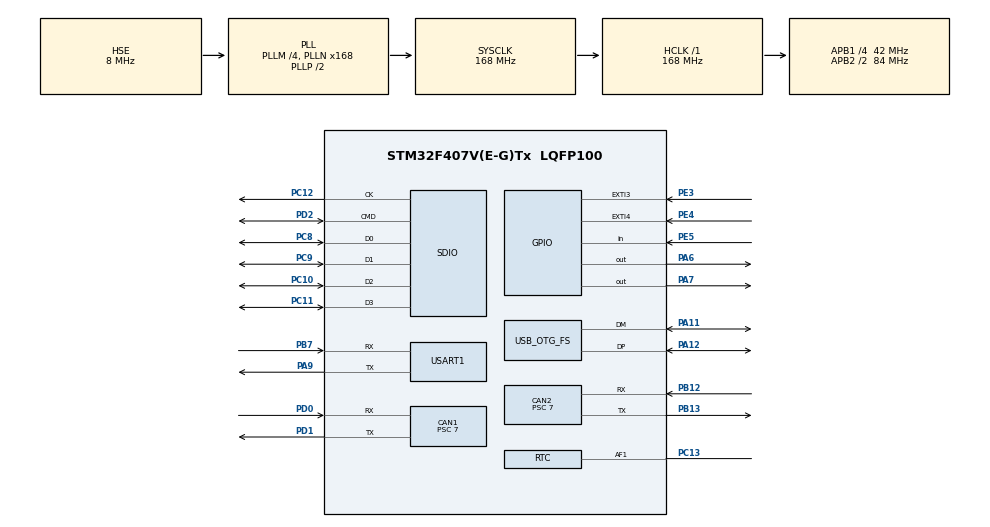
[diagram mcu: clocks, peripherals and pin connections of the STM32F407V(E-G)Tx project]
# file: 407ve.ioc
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CAN1.BS1=CAN_BS1_5TQ
CAN1.BS2=CAN_BS2_6TQ
CAN1.CalculateTimeQuantum=166.66666666666669
CAN1.Mode=CAN_MODE_NORMAL
CAN1.NART=ENABLE
CAN1.Prescaler=7
CAN2.BS1=CAN_BS1_5TQ
CAN2.BS2=CAN_BS2_6TQ
CAN2.CalculateTimeQuantum=166.66666666666669
CAN2.Prescaler=7
Dma.Request0=USART1_RX
Dma.Request1=USART1_TX
Dma.Request2=SDIO_RX
Dma.Request3=SDIO_TX
Dma.SDIO_RX.2.Direction=DMA_PERIPH_TO_MEMORY
Dma.SDIO_RX.2.FIFOMode=DMA_FIFOMODE_ENABLE
Dma.SDIO_RX.2.FIFOThreshold=DMA_FIFO_THRESHOLD_FULL
Dma.SDIO_RX.2.Instance=DMA2_Stream3
Dma.SDIO_RX.2.MemBurst=DMA_MBURST_INC4
Dma.SDIO_RX.2.MemDataAlignment=DMA_MDATAALIGN_WORD
Dma.SDIO_RX.2.MemInc=DMA_MINC_ENABLE
Dma.SDIO_RX.2.Mode=DMA_PFCTRL
Dma.SDIO_RX.2.PeriphBurst=DMA_PBURST_INC4
Dma.SDIO_RX.2.PeriphDataAlignment=DMA_PDATAALIGN_WORD
Dma.SDIO_RX.2.PeriphInc=DMA_PINC_DISABLE
Dma.SDIO_RX.2.Priority=DMA_PRIORITY_HIGH
Dma.SDIO_TX.3.Direction=DMA_MEMORY_TO_PERIPH
Dma.SDIO_TX.3.FIFOMode=DMA_FIFOMODE_ENABLE
Dma.SDIO_TX.3.FIFOThreshold=DMA_FIFO_THRESHOLD_FULL
Dma.SDIO_TX.3.Instance=DMA2_Stream6
Dma.SDIO_TX.3.MemBurst=DMA_MBURST_INC4
Dma.SDIO_TX.3.MemDataAlignment=DMA_MDATAALIGN_WORD
Dma.SDIO_TX.3.MemInc=DMA_MINC_ENABLE
Dma.SDIO_TX.3.Mode=DMA_PFCTRL
Dma.SDIO_TX.3.PeriphBurst=DMA_PBURST_INC4
Dma.SDIO_TX.3.PeriphDataAlignment=DMA_PDATAALIGN_WORD
Dma.SDIO_TX.3.PeriphInc=DMA_PINC_DISABLE
Dma.SDIO_TX.3.Priority=DMA_PRIORITY_HIGH
Dma.USART1_RX.0.Direction=DMA_PERIPH_TO_MEMORY
Dma.USART1_RX.0.FIFOMode=DMA_FIFOMODE_DISABLE
Dma.USART1_RX.0.Instance=DMA2_Stream2
Dma.USART1_RX.0.MemDataAlignment=DMA_MDATAALIGN_BYTE
Dma.USART1_RX.0.MemInc=DMA_MINC_ENABLE
Dma.USART1_RX.0.Mode=DMA_NORMAL
Dma.USART1_RX.0.PeriphDataAlignment=DMA_PDATAALIGN_BYTE
Dma.USART1_RX.0.PeriphInc=DMA_PINC_DISABLE
Dma.USART1_RX.0.Priority=DMA_PRIORITY_LOW
Dma.USART1_TX.1.Direction=DMA_MEMORY_TO_PERIPH
Dma.USART1_TX.1.FIFOMode=DMA_FIFOMODE_ENABLE
Dma.USART1_TX.1.FIFOThreshold=DMA_FIFO_THRESHOLD_3QUARTERSFULL
Dma.USART1_TX.1.Instance=DMA2_Stream7
Dma.USART1_TX.1.MemBurst=DMA_MBURST_SINGLE
Dma.USART1_TX.1.MemDataAlignment=DMA_MDATAALIGN_BYTE
Dma.USART1_TX.1.MemInc=DMA_MINC_ENABLE
Dma.USART1_TX.1.Mode=DMA_NORMAL
Dma.USART1_TX.1.PeriphBurst=DMA_PBURST_SINGLE
Dma.USART1_TX.1.PeriphDataAlignment=DMA_PDATAALIGN_BYTE
Dma.USART1_TX.1.PeriphInc=DMA_PINC_DISABLE
Dma.USART1_TX.1.Priority=DMA_PRIORITY_LOW
FATFS.BSP.number=1
FATFS.USE_DMA_CODE_SD=1
FATFS._CODE_PAGE=936
FATFS._FS_RPATH=2
FATFS._FS_TINY=1
FATFS._MAX_SS=4096
FATFS._MULTI_PARTITION=0
FATFS._USE_CHMOD=1
FATFS._USE_EXPAND=1
FATFS._USE_FIND=1
FATFS._USE_FORWARD=1
FATFS._USE_LABEL=1
FATFS._USE_LFN=2
FATFS._USE_TRIM=1
FATFS0.BSP.STBoard=false
FATFS0.BSP.api=Unknown
FATFS0.BSP.i2caddr=0
FATFS0.BSP.instance=PE5
FATFS0.BSP.ip=GPIO
FATFS0.BSP.mode=Input
FATFS0.BSP.name=Detect_SDIO
FATFS0.BSP.solution=PE5
Mcu.Family=STM32F4
Mcu.Name=STM32F407V(E-G)Tx
Mcu.Package=LQFP100
NVIC.CAN1_RX0_IRQn=true\:0\:0\:false\:false\:true\:true
NVIC.CAN1_RX1_IRQn=true\:0\:0\:false\:false\:true\:true
NVIC.CAN1_SCE_IRQn=true\:0\:0\:false\:false\:true\:true
NVIC.CAN1_TX_IRQn=true\:0\:0\:false\:false\:true\:true
NVIC.CAN2_RX0_IRQn=true\:0\:0\:false\:false\:true\:true
NVIC.CAN2_RX1_IRQn=true\:0\:0\:false\:false\:true\:true
NVIC.CAN2_SCE_IRQn=true\:0\:0\:false\:false\:true\:true
NVIC.CAN2_TX_IRQn=true\:0\:0\:false\:false\:true\:true
NVIC.DMA2_Stream2_IRQn=true\:8\:0\:true\:false\:true\:false
NVIC.DMA2_Stream3_IRQn=true\:6\:0\:true\:false\:true\:false
NVIC.DMA2_Stream6_IRQn=true\:6\:0\:true\:false\:true\:false
NVIC.DMA2_Stream7_IRQn=true\:8\:0\:true\:false\:true\:false
NVIC.EXTI3_IRQn=true\:5\:0\:true\:false\:true\:true
NVIC.EXTI4_IRQn=true\:5\:0\:true\:false\:true\:true
NVIC.OTG_FS_IRQn=true\:7\:0\:true\:false\:true\:true
NVIC.PriorityGroup=NVIC_PRIORITYGROUP_4
NVIC.RTC_Alarm_IRQn=true\:0\:0\:false\:false\:true\:true
NVIC.SDIO_IRQn=true\:5\:0\:true\:false\:true\:true
NVIC.USART1_IRQn=true\:0\:0\:false\:false\:true\:true
PA0-WKUP.Mode=SYS_WakeUp0
PA0-WKUP.Signal=SYS_WKUP
PA11.Mode=Device_Only
PA11.Signal=USB_OTG_FS_DM
PA12.Mode=Device_Only
PA12.Signal=USB_OTG_FS_DP
PA13.Mode=Trace_Asynchronous_SW
PA13.Signal=SYS_JTMS-SWDIO
PA14.Mode=Trace_Asynchronous_SW
PA14.Signal=SYS_JTCK-SWCLK
PA6.PinState=GPIO_PIN_SET
PA6.Signal=GPIO_Output
PA7.GPIO_ModeDefaultOutputPP=GPIO_MODE_OUTPUT_OD
PA7.PinState=GPIO_PIN_SET
PA7.Signal=GPIO_Output
PA9.Mode=Asynchronous
PA9.Signal=USART1_TX
PB12.Mode=Slave
PB12.Signal=CAN2_RX
PB13.Mode=Slave
PB13.Signal=CAN2_TX
PB3.Mode=Trace_Asynchronous_SW
PB3.Signal=SYS_JTDO-SWO
PB7.Mode=Asynchronous
PB7.Signal=USART1_RX
PC10.Mode=SD_4_bits_Wide_bus
PC10.Signal=SDIO_D2
PC11.Mode=SD_4_bits_Wide_bus
PC11.Signal=SDIO_D3
PC12.Mode=SD_4_bits_Wide_bus
PC12.Signal=SDIO_CK
PC13-ANTI_TAMP.Mode=Calibration_1Hz
PC13-ANTI_TAMP.Signal=RTC_AF1
PC14-OSC32_IN.Mode=LSE-External-Oscillator
PC14-OSC32_IN.Signal=RCC_OSC32_IN
PC15-OSC32_OUT.Mode=LSE-External-Oscillator
PC15-OSC32_OUT.Signal=RCC_OSC32_OUT
PC8.Mode=SD_4_bits_Wide_bus
PC8.Signal=SDIO_D0
PC9.Mode=SD_4_bits_Wide_bus
PC9.Signal=SDIO_D1
PD0.Mode=Master
PD0.Signal=CAN1_RX
PD1.Mode=Master
PD1.Signal=CAN1_TX
PD2.Mode=SD_4_bits_Wide_bus
PD2.Signal=SDIO_CMD
PE3.GPIO_ModeDefaultEXTI=GPIO_MODE_IT_FALLING
PE3.GPIO_PuPd=GPIO_PULLUP
PE3.Signal=GPXTI3
PE4.GPIO_ModeDefaultEXTI=GPIO_MODE_IT_FALLING
PE4.GPIO_PuPd=GPIO_PULLUP
PE4.Signal=GPXTI4
PE5.GPIO_PuPd=GPIO_PULLDOWN
PE5.Signal=GPIO_Input
PH0-OSC_IN.Mode=HSE-External-Oscillator
PH0-OSC_IN.Signal=RCC_OSC_IN
PH1-OSC_OUT.Mode=HSE-External-Oscillator
PH1-OSC_OUT.Signal=RCC_OSC_OUT
ProjectManager.HeapSize=0x2000
ProjectManager.StackSize=0x2000
ProjectManager.TargetToolchain=MDK-ARM V5
RCC.48MHZClocksFreq_Value=48000000
RCC.AHBFreq_Value=168000000
RCC.APB1CLKDivider=RCC_HCLK_DIV4
RCC.APB1Freq_Value=42000000
RCC.APB1TimFreq_Value=84000000
RCC.APB2CLKDivider=RCC_HCLK_DIV2
RCC.APB2Freq_Value=84000000
RCC.APB2TimFreq_Value=168000000
RCC.CortexFreq_Value=168000000
RCC.HCLKFreq_Value=168000000
RCC.HSE_VALUE=8000000
RCC.HSI_VALUE=16000000
RCC.PLLM=4
RCC.PLLN=168
RCC.PLLQ=7
RCC.RCC_RTC_Clock_Source=RCC_RTCCLKSOURCE_LSE
RCC.RCC_RTC_Clock_SourceVirtual=RCC_RTCCLKSOURCE_LSE
RCC.SYSCLKFreq_VALUE=168000000
RCC.SYSCLKSource=RCC_SYSCLKSOURCE_PLLCLK
RCC.VCOOutputFreq_Value=336000000
RTC.AlarmMaskDateWeekDay_B=RTC_ALARMMASK_DATEWEEKDAY
RTC.AlarmMaskHours_B=RTC_ALARMMASK_HOURS
RTC.AlarmMaskMinutes_B=RTC_ALARMMASK_MINUTES
RTC.Alarm_B=RTC_ALARM_B
RTC.Date=27
RTC.Month=RTC_MONTH_FEBRUARY
RTC.Seconds_B=3
RTC.StoreOperation=RTC_STOREOPERATION_SET
RTC.Year=19
SDIO.ClockBypass=SDIO_CLOCK_BYPASS_DISABLE
SDIO.HardwareFlowControl=SDIO_HARDWARE_FLOW_CONTROL_DISABLE
USART1.VirtualMode=VM_ASYNC
USB_DEVICE.CLASS_NAME_FS=MSC
USB_DEVICE.VirtualMode-MSC_FS=Msc
USB_DEVICE.VirtualModeFS=Msc_FS
USB_OTG_FS.VirtualMode=Device_Only
VP_FATFS_VS_SDIO.Mode=SDIO
VP_RTC_VS_RTC_Activate.Mode=RTC_Enabled
VP_RTC_VS_RTC_Alarm_B_Intern.Mode=Alarm B
VP_RTC_VS_RTC_Calendar.Mode=RTC_Calendar
VP_USB_DEVICE_VS_USB_DEVICE_MSC_FS.Mode=MSC_FS
board=custom

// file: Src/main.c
/* USER CODE BEGIN Header */
/**
  ******************************************************************************
  * @file           : main.c
  * @brief          : Main program body
  ******************************************************************************
  ** This notice applies to any and all portions of this file
  * that are not between comment pairs USER CODE BEGIN and
  * USER CODE END. Other portions of this file, whether
  * inserted by the user or by software development tools
  * are owned by their respective copyright owners.
  *
  * COPYRIGHT(c) 2019 STMicroelectronics
  *
  * Redistribution and use in source and binary forms, with or without modification,
  * are permitted provided that the following conditions are met:
  *   1. Redistributions of source code must retain the above copyright notice,
  *      this list of conditions and the following disclaimer.
  *   2. Redistributions in binary form must reproduce the above copyright notice,
  *      this list of conditions and the following disclaimer in the documentation
  *      and/or other materials provided with the distribution.
  *   3. Neither the name of STMicroelectronics nor the names of its contributors
  *      may be used to endorse or promote products derived from this software
  *      without specific prior written permission.
  *
  * THIS SOFTWARE IS PROVIDED BY THE COPYRIGHT HOLDERS AND CONTRIBUTORS "AS IS"
  * AND ANY EXPRESS OR IMPLIED WARRANTIES, INCLUDING, BUT NOT LIMITED TO, THE
  * IMPLIED WARRANTIES OF MERCHANTABILITY AND FITNESS FOR A PARTICULAR PURPOSE ARE
  * DISCLAIMED. IN NO EVENT SHALL THE COPYRIGHT HOLDER OR CONTRIBUTORS BE LIABLE
  * FOR ANY DIRECT, INDIRECT, INCIDENTAL, SPECIAL, EXEMPLARY, OR CONSEQUENTIAL
  * DAMAGES (INCLUDING, BUT NOT LIMITED TO, PROCUREMENT OF SUBSTITUTE GOODS OR
  * SERVICES; LOSS OF USE, DATA, OR PROFITS; OR BUSINESS INTERRUPTION) HOWEVER
  * CAUSED AND ON ANY THEORY OF LIABILITY, WHETHER IN CONTRACT, STRICT LIABILITY,
  * OR TORT (INCLUDING NEGLIGENCE OR OTHERWISE) ARISING IN ANY WAY OUT OF THE USE
  * OF THIS SOFTWARE, EVEN IF ADVISED OF THE POSSIBILITY OF SUCH DAMAGE.
  *
  ******************************************************************************
  */
/* USER CODE END Header */

#include "main.h"
#include "can.h"
#include "dma.h"
#include "fatfs.h"
#include "rtc.h"
#include "sdio.h"
#include "usart.h"
#include "usb_device.h"
#include "gpio.h"

/* USER CODE BEGIN Includes */
#include "string.h"
#include "stdio.h"
//#include "usbd_cdc_if.h"
#include "led.h"
// #include "usbd_hid.h"
/* USER CODE END Includes */

/* USER CODE BEGIN PD */
#define SPI_FLASH_CS_PORT GPIOB
#define SPI_FLASH_CS_PIN GPIO_PIN_0
#define BUFFER_SIZE 2
/* USER CODE END PD */

/* USER CODE BEGIN PV */
static  char str[4096];
volatile uint8_t rx_len = 0;                          //接收数据长度
volatile uint8_t recv_end_flag = 0;                   //接收完成标记位
uint8_t rx_buffer[BUFFER_SIZE] = {0}; //接收数据缓存
int8_t usart1_send_complete_flag = 0;
__align(4) uint8_t rxbuf[100] = {0}, txbuf[100] = {0};

/* USER CODE END PV */

void SystemClock_Config(void);
/* USER CODE BEGIN PFP */
void UserTestEntry(void);
void UserTestEntry1(void);
void UserTestEntry2(void);
void UserTestEntry3(void);
/* USER CODE END PFP */

/* USER CODE BEGIN 0 */
//void  usart_transmit_comp_callback(UART_HandleTypeDef *huart){

//usart1_send_complete_flag=0;
//  return;
//}

void DMA_Usart_Send(uint8_t *buf, uint8_t len) //串口发送封装
{
//    HAL_UART_Transmit_DMA(&huart1, buf, len);
//    while (huart1.gState == HAL_UART_STATE_BUSY_TX);
HAL_UART_Transmit(&huart1, buf, len,1000);
}

void HAL_UART_RxCpltCallback(UART_HandleTypeDef *UartHandle)
{

    HAL_UART_Transmit_DMA(&huart1, rx_buffer, sizeof(rx_buffer) - 1); //可以通过DMA把数据发出去

    HAL_UART_Receive_DMA(&huart1, (uint8_t *)rx_buffer, sizeof(rx_buffer) - 1);  //重新使能接收
}
void print_rcc_freq_info(void)
{
    sprintf(str, "SYSCLK_Frequency is %dHZ\r\n", HAL_RCC_GetSysClockFreq());
    DMA_Usart_Send((uint8_t*)str, strlen(str));
    sprintf(str, "PCLK1_Frequency is %dHZ\r\n", HAL_RCC_GetPCLK1Freq());
    DMA_Usart_Send((uint8_t*)str, strlen(str));
    sprintf(str, "PCLK2_Frequency is %dHZ\r\n", HAL_RCC_GetPCLK2Freq());
    DMA_Usart_Send((uint8_t*)str, strlen(str));
    sprintf(str, "SystemCoreClock is %dHZ\r\n", SystemCoreClock);
    DMA_Usart_Send((uint8_t*)str, strlen(str));
}
/* USER CODE END 0 */

int main(void)
{

    /* MCU Configuration--------------------------------------------------------*/

    /* Reset of all peripherals, Initializes the Flash interface and the Systick. */
    HAL_Init();

    /* Configure the system clock */
    SystemClock_Config();

    /* Initialize all configured peripherals */
    MX_GPIO_Init();
    MX_DMA_Init();
    MX_SDIO_SD_Init();
    MX_USART1_UART_Init();
    MX_FATFS_Init();
    MX_RTC_Init();
    MX_USB_DEVICE_Init();
    MX_CAN1_Init();
    MX_CAN2_Init();
    /* USER CODE BEGIN 2 */
//  hdma_usart1_tx.XferCpltCallback=usart1_dma_XferCpltCallback;
    if(HAL_UART_Receive_DMA(&huart1, (uint8_t *)rx_buffer, sizeof(rx_buffer) - 1) != HAL_OK) //main函数while(1)前，启动一次DMA接收
    {
        Error_Handler();
    }
    print_rcc_freq_info();

    sprintf(str, "build date : %s\r\nbuild time :  %s \r\n", __DATE__, __TIME__);
    DMA_Usart_Send((uint8_t*)str, strlen(str));
    UserTestEntry();
    UserTestEntry1();
    UserTestEntry2();
    UserTestEntry3();
    /* USER CODE END 2 */

    /* Infinite loop */
    while (1)
    {

    }
}

void SystemClock_Config(void)
{
    RCC_OscInitTypeDef RCC_OscInitStruct = {0};
    RCC_ClkInitTypeDef RCC_ClkInitStruct = {0};
    RCC_PeriphCLKInitTypeDef PeriphClkInitStruct = {0};

    /**Configure the main internal regulator output voltage
    */
    __HAL_RCC_PWR_CLK_ENABLE();
    __HAL_PWR_VOLTAGESCALING_CONFIG(PWR_REGULATOR_VOLTAGE_SCALE1);
    /**Initializes the CPU, AHB and APB busses clocks
    */
    RCC_OscInitStruct.OscillatorType = RCC_OSCILLATORTYPE_HSE | RCC_OSCILLATORTYPE_LSE;
    RCC_OscInitStruct.HSEState = RCC_HSE_ON;
    RCC_OscInitStruct.LSEState = RCC_LSE_ON;
    RCC_OscInitStruct.PLL.PLLState = RCC_PLL_ON;
    RCC_OscInitStruct.PLL.PLLSource = RCC_PLLSOURCE_HSE;
    RCC_OscInitStruct.PLL.PLLM = 4;
    RCC_OscInitStruct.PLL.PLLN = 168;
    RCC_OscInitStruct.PLL.PLLP = RCC_PLLP_DIV2;
    RCC_OscInitStruct.PLL.PLLQ = 7;
    if (HAL_RCC_OscConfig(&RCC_OscInitStruct) != HAL_OK)
    {
        Error_Handler();
    }
    /**Initializes the CPU, AHB and APB busses clocks
    */
    RCC_ClkInitStruct.ClockType = RCC_CLOCKTYPE_HCLK | RCC_CLOCKTYPE_SYSCLK
                                  | RCC_CLOCKTYPE_PCLK1 | RCC_CLOCKTYPE_PCLK2;
    RCC_ClkInitStruct.SYSCLKSource = RCC_SYSCLKSOURCE_PLLCLK;
    RCC_ClkInitStruct.AHBCLKDivider = RCC_SYSCLK_DIV1;
    RCC_ClkInitStruct.APB1CLKDivider = RCC_HCLK_DIV4;
    RCC_ClkInitStruct.APB2CLKDivider = RCC_HCLK_DIV2;

    if (HAL_RCC_ClockConfig(&RCC_ClkInitStruct, FLASH_LATENCY_5) != HAL_OK)
    {
        Error_Handler();
    }
    PeriphClkInitStruct.PeriphClockSelection = RCC_PERIPHCLK_RTC;
    PeriphClkInitStruct.RTCClockSelection = RCC_RTCCLKSOURCE_LSE;
    if (HAL_RCCEx_PeriphCLKConfig(&PeriphClkInitStruct) != HAL_OK)
    {
        Error_Handler();
    }
}

/* USER CODE BEGIN 4 */
char *USER_Path = SDPath;
void mount_disk(void)
{
    uint8_t res = f_mount(&SDFatFS, "/", 0);
    if (res != FR_OK)
    {
        sprintf(str, "FAILED: %d\r\n", res);
        DMA_Usart_Send((uint8_t*)str, strlen(str));

        return;
    }
    sprintf(str, "MOUNT OK\r\n");
    DMA_Usart_Send((uint8_t*)str, strlen(str));

}

void format_disk(void)
{
    uint8_t res = 0;

    sprintf(str, "PROCESSING...\r\n");
    DMA_Usart_Send((uint8_t*)str, strlen(str));
    res = f_mkfs("/", FM_FAT | FM_ANY, 512, str, 512);
    if (res == FR_OK)
    {
        sprintf(str, "OK!\r\n");
        DMA_Usart_Send((uint8_t*)str, strlen(str));

    }
    else
    {
        sprintf(str, "failed with: %d\r\n", res);
        DMA_Usart_Send((uint8_t*)str, strlen(str));

    }
}

void create_file(void)
{
//  FIL file;
//  FIL *pf = &file;
    uint8_t res;

    res = f_open(&SDFile, "0:test_1.txt", FA_CREATE_ALWAYS  | FA_WRITE);
    if (res == FR_OK)
    {
        sprintf(str, "creat ok\r\n");
        DMA_Usart_Send((uint8_t*)str, strlen(str));
    }
    else
    {
        sprintf(str, "creat failed\r\n");
        DMA_Usart_Send((uint8_t*)str, strlen(str));
        sprintf(str, "error code: %d\r\n", res);
        DMA_Usart_Send((uint8_t*)str, strlen(str));

    }

    f_printf(&SDFile, "hello fatfs!\r\n");

    res = f_close(&SDFile);
    if (res != FR_OK)
    {
        sprintf(str, "close file error\r\n");
        DMA_Usart_Send((uint8_t*)str, strlen(str));
        sprintf(str, "error code: %d\r\n", res);
        DMA_Usart_Send((uint8_t*)str, strlen(str));
    }
}

void get_disk_info(void)
{
//  FATFS fs;
    FATFS *fls = &SDFatFS;
    FRESULT res;
    DWORD fre_clust;

    res = f_getfree("/", &fre_clust, &fls);       /* Get Number of Free Clusters */
    if (res == FR_OK)
    {
        /* Print free space in unit of MB (assuming 4096 bytes/sector) */
        sprintf(str, "%ld KB Total Drive Space.\r\n%ld KB Available Space.\r\n",
                ((fls->n_fatent - 2)*fls->csize) * 4 / 8, (fre_clust * fls->csize) * 4 / 8);
        DMA_Usart_Send((uint8_t*)str, strlen(str));
    }
    else
    {
        sprintf(str, "get disk info error\n");
        DMA_Usart_Send((uint8_t*)str, strlen(str));

        sprintf(str, "error code: %d\n", res);
        DMA_Usart_Send((uint8_t*)str, strlen(str));

    }
}

void read_file(void)
{
//  FIL file;
    FRESULT res;
    UINT bw;
    uint8_t rbuf[100] = {0};

    res = f_open(&SDFile, "0:/test_1.txt", FA_READ);
    if (res != FR_OK)
    {
        sprintf(str, "open error: %d\n", res);
        DMA_Usart_Send((uint8_t*)str, strlen(str));
        return;
    }
    f_read(&SDFile, rbuf, 15, &bw);
    sprintf(str, "%s,%d\n", rbuf,bw);
    DMA_Usart_Send((uint8_t*)str, bw);

    res = f_close(&SDFile);
    if (res != FR_OK)
    {
        sprintf(str, "close file error\n");
        DMA_Usart_Send((uint8_t*)str, strlen(str));
        sprintf(str, "error code: %d\n", res);
        DMA_Usart_Send((uint8_t*)str, strlen(str));
    }
}
void write_file(void)
{
    FRESULT res;
    UINT bw;
    uint32_t temp=0;
    res = f_open(&SDFile, "0:/write1.txt", FA_CREATE_ALWAYS | FA_WRITE);
    if (res != FR_OK)
    {
        sprintf(str, "creat error: %d\n", res);
        DMA_Usart_Send((uint8_t*)str, strlen(str));
        return;
    }
//    for(; temp < 0xf; temp++)
//    {
//        sprintf((char*)txbuf, "%d\r\n", temp);
//    }
		sprintf((char*)txbuf, "%d\r\n", 1234567);
//    f_printf(&SDFile, txbuf);

    f_write(&SDFile, txbuf, strlen((char*)txbuf), &bw);
    DMA_Usart_Send((uint8_t*)"txbuf:", 6);
    DMA_Usart_Send((uint8_t*)txbuf, strlen((char*)txbuf));
    res = f_close(&SDFile);
    if (res != FR_OK)
    {
        sprintf(str, "close file error\n");
        DMA_Usart_Send((uint8_t*)str, strlen(str));
        sprintf(str, "error code: %d\n", res);
        DMA_Usart_Send((uint8_t*)str, strlen(str));
    }
    res = f_open(&SDFile, "0:/write1.txt", FA_READ | FA_WRITE|FA_OPEN_APPEND);
    if (res != FR_OK)
    {
        sprintf(str, "open error: %d\n", res);
        DMA_Usart_Send((uint8_t*)str, strlen(str));
        return;
    }
		    for(; temp <= 0xffff; temp++)
    {
        sprintf((char*)txbuf, "%d\r\n", temp);
					f_puts((const char *)txbuf,&SDFile);

    }

    f_read(&SDFile, rxbuf, strlen((char*)txbuf), &bw);
    DMA_Usart_Send((uint8_t*)"rxbuf:", 6);

    DMA_Usart_Send((uint8_t*)rxbuf, strlen((char*)txbuf));

    res = f_close(&SDFile);
    if (res != FR_OK)
    {
        sprintf(str, "close file error\n");
        DMA_Usart_Send((uint8_t*)str, strlen(str));
        sprintf(str, "error code: %d\n", res);
        DMA_Usart_Send((uint8_t*)str, strlen(str));
    }
}
uint8_t uer_button_step = 0, uer_button_step1 = 0;
void HAL_GPIO_EXTI_Callback(uint16_t GPIO_Pin)
{
    if(GPIO_PIN_4 == GPIO_Pin)
    {
        switch(uer_button_step ++)
        {
            case 0:
                break;
            case 1:
                break;
            default:
                break;
        }
        if(uer_button_step > 1)
        {
            uer_button_step = 1;
        }
        LED1TOG;

    }
    if(GPIO_PIN_3 == GPIO_Pin)
    {
        switch(uer_button_step1 ++)
        {
            case 0:
                break;
            case 1:
                break;
            default:
                break;
        }
        if(uer_button_step1 > 1)
        {
            uer_button_step1 = 1;
        }
        LED2TOG;

    }
}
void UserTestEntry(void)
{
    sprintf(str, "UserTestEntry bagin\r\n");
    DMA_Usart_Send((uint8_t*)str, strlen(str));

    /*
        //https://www.cnblogs.com/dongdongbh/p/6256931.html
        通过STM32CUBEMX生成DMA读写sdio的工程，再读写过程中总会卡死在DMA中断等待读写完成的while中，
        最终发现while等待的标志在SDIO的中断里置位的，而SDIO中断优先级如果小于或等于DMA中断优先级，
        则SDIO中断永远不能抢占DMA中断，DMA处于持续等待中，解决办法由两种，一种是直接提高SDIO中断
        优先级到比DMA中断优先级高，第二种是直接在HAL库中卡住的中断等待函数中注释掉while等待。
    　　另外还有一点就是在SDIO数据读写的时候需要注意的两点，一个是读写数据最好四字节对其，否则
        可能出BUG，二是读写BUFF的大小必须大于等于读写函数的SIZE参数，否则会出现内存莫名错误导致
        指针出乱，程序出乱。
        */
    mount_disk();
//  format_disk();
//  create_file();
    get_disk_info();
//    read_file();
//    write_file();

}
//  struct mouseHID_t {
//      uint8_t buttons;
//      int8_t x;
//      int8_t y;
//      int8_t wheel;
//  };
//extern    USBD_HandleTypeDef hUsbDeviceFS;
//    struct mouseHID_t mouseHID;

extern uint8_t* UserRxBufferFS;
void UserTestEntry1(void)
{
    sprintf(str, "UserTestEntry1 bagin\r\n");
    DMA_Usart_Send((uint8_t*)str, strlen(str));
//      for(char temp=0;1;temp++){
//  mouseHID.buttons = 0;
//  mouseHID.x = 10;
//  mouseHID.y = 0;
//  mouseHID.wheel = 0;
//  USBD_HID_SendReport(&hUsbDeviceFS, (uint8_t*)&mouseHID, 4);
//  HAL_Delay(1000);
//      }
//    uint32_t q32=2;
//              USBD_Interface_fops_FS.Receive((uint8_t*)str,&q32);

    for(uint32_t temp = 0; temp < 9; temp++)
    {
//      CDC_Transmit_FS((uint8_t*)str,q32);

//      HAL_Delay(5000);
        if(uer_button_step >= 1)
        {
            uer_button_step = 0;
//          sprintf(str,"button0\r\n");
            DMA_Usart_Send((uint8_t*)str, strlen(str));
//            USBD_Interface_fops_FS.Receive((uint8_t*)str,&q32);
        }

        if(uer_button_step1 >= 1)
        {
            uer_button_step1 = 0;
//          sprintf(str,"button1\r\n");
            DMA_Usart_Send((uint8_t*)str, strlen(str));
//            CDC_Transmit_FS((uint8_t*)UserRxBufferFS,q32+2);
        }
//      sprintf(str,"test cdc = %d\r\n",temp++);
//CDC_Transmit_FS((uint8_t*)str,strlen(str));
//          sprintf(str,"test cdc = %d\r\n",temp++);
//CDC_Transmit_FS((uint8_t*)str,strlen(str));
//      HAL_Delay(500);
    }
}
void HAL_RTC_AlarmAEventCallback(RTC_HandleTypeDef *hrtc)
{
//    LED1TOG;
}
void HAL_RTCEx_AlarmBEventCallback(RTC_HandleTypeDef *hrtc)
{
    LED2TOG;
}
void StandbyMode_Measure(void)
{
    /* Enable Power Clock*/
    __HAL_RCC_PWR_CLK_ENABLE();

    /* Allow access to Backup */
    HAL_PWR_EnableBkUpAccess();

    /* Reset RTC Domain */
    __HAL_RCC_BACKUPRESET_FORCE();
    __HAL_RCC_BACKUPRESET_RELEASE();

    /* Disable all used wakeup sources: Pin1(PA.0) */
    HAL_PWR_DisableWakeUpPin(PWR_WAKEUP_PIN1);

    /* Clear all related wakeup flags */
    __HAL_PWR_CLEAR_FLAG(PWR_FLAG_WU);

    /* Re-enable all used wakeup sources: Pin1(PA.0) */
    HAL_PWR_EnableWakeUpPin(PWR_WAKEUP_PIN1);

    /*## Enter Standby Mode ####################################################*/
    /* Request to enter STANDBY mode  */
    HAL_PWR_EnterSTANDBYMode();
}
void StopMode_Measure(void)
{
    GPIO_InitTypeDef GPIO_InitStruct;

    /* Configure all GPIO as analog to reduce current consumption on non used IOs */
    /* Enable GPIOs clock */
    __HAL_RCC_GPIOA_CLK_ENABLE();
    __HAL_RCC_GPIOB_CLK_ENABLE();
    __HAL_RCC_GPIOC_CLK_ENABLE();
    __HAL_RCC_GPIOD_CLK_ENABLE();
    __HAL_RCC_GPIOE_CLK_ENABLE();
    __HAL_RCC_GPIOH_CLK_ENABLE();

    GPIO_InitStruct.Mode = GPIO_MODE_ANALOG;
    GPIO_InitStruct.Speed = GPIO_SPEED_HIGH;
    GPIO_InitStruct.Pull = GPIO_NOPULL;
    GPIO_InitStruct.Pin = GPIO_PIN_All;
    HAL_GPIO_Init(GPIOC, &GPIO_InitStruct);
    HAL_GPIO_Init(GPIOD, &GPIO_InitStruct);
    HAL_GPIO_Init(GPIOE, &GPIO_InitStruct);
    HAL_GPIO_Init(GPIOH, &GPIO_InitStruct);
    HAL_GPIO_Init(GPIOA, &GPIO_InitStruct);
    HAL_GPIO_Init(GPIOB, &GPIO_InitStruct);

    /* Disable GPIOs clock */
    __HAL_RCC_GPIOA_CLK_DISABLE();
    __HAL_RCC_GPIOB_CLK_DISABLE();
    __HAL_RCC_GPIOC_CLK_DISABLE();
    __HAL_RCC_GPIOD_CLK_DISABLE();
    __HAL_RCC_GPIOE_CLK_DISABLE();
    __HAL_RCC_GPIOH_CLK_DISABLE();

//            if(uer_button_step1 >= 1)
    {
//                          uer_button_step1=0;

        HAL_SuspendTick();
        HAL_PWREx_EnableFlashPowerDown();

        HAL_PWR_EnterSTOPMode(PWR_LOWPOWERREGULATOR_ON, PWR_STOPENTRY_WFI);
        SystemClock_Config();
        print_rcc_freq_info();
    }
}
void UserTestEntry2(void)
{
    sprintf(str, "UserTestEntry2 bagin\r\n");
    DMA_Usart_Send((uint8_t*)str, strlen(str));
    sprintf(str, "HAL_RTCEx_BKUPRead(&hrtc, RTC_BKP_DR1)= 0x%x\r\n", HAL_RTCEx_BKUPRead(&hrtc, RTC_BKP_DR1));
    DMA_Usart_Send((uint8_t*)str, strlen(str));

    RTC_DateTypeDef sdatestructure;
    RTC_TimeTypeDef stimestructure;

    for(uint32_t temp = 0; temp <= 2; temp++)
    {

        /* Get the RTC current Time */
        HAL_RTC_GetTime(&hrtc, &stimestructure, RTC_FORMAT_BIN);
        /* Get the RTC current Date */
        HAL_RTC_GetDate(&hrtc, &sdatestructure, RTC_FORMAT_BIN);
        /* Display time Format : hh:mm:ss */
        sprintf((char *)str, "\r%2d:%2d:%2d, %2d-%2d-%2d",
                stimestructure.Hours, stimestructure.Minutes,
                stimestructure.Seconds, sdatestructure.Month,
                sdatestructure.Date, 2000 + sdatestructure.Year);
        DMA_Usart_Send((uint8_t*)str, strlen(str));
        HAL_Delay(1000);
    }

}

void UserTestEntry3(void)
{
    sprintf(str, "\r\nUserTestEntry3 bagin\r\n");
    DMA_Usart_Send((uint8_t*)str, strlen(str));
    CAN_Config();
    for(uint32_t temp = 0; temp >= 8; temp++)
    {
        if(uer_button_step >= 1)
        {
            uer_button_step = 0;
            if(TestCanTxMessage() == HAL_OK)
            {
                LED1OFF;
                sprintf(str, "(TestCanTxMessage() == HAL_OK)\r\n");
//           DMA_Usart_Send((uint8_t*)str,strlen(str));
            }

        }
    }
}
/* USER CODE END 4 */

void Error_Handler(void)
{
}

/************************ (C) COPYRIGHT STMicroelectronics *****END OF FILE****/
